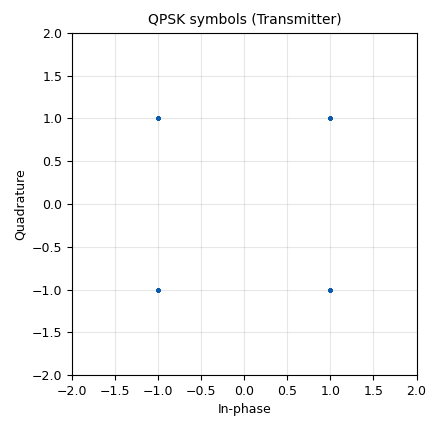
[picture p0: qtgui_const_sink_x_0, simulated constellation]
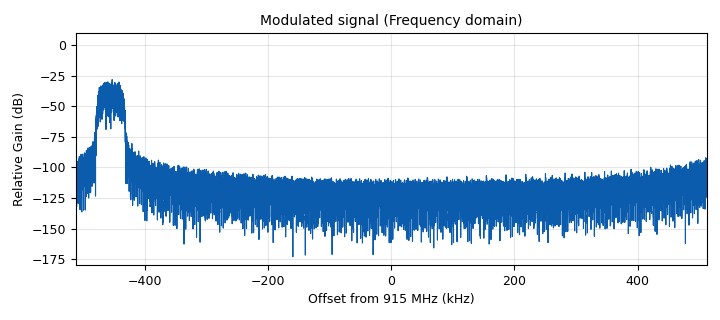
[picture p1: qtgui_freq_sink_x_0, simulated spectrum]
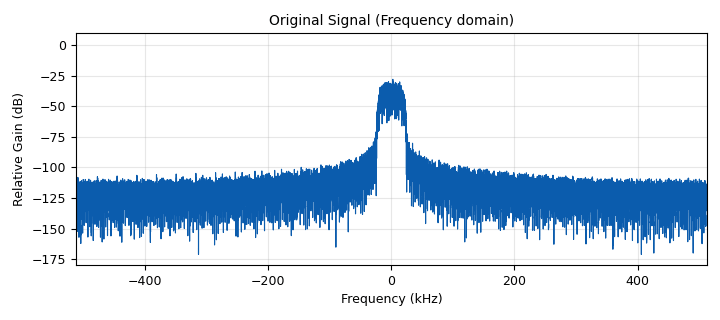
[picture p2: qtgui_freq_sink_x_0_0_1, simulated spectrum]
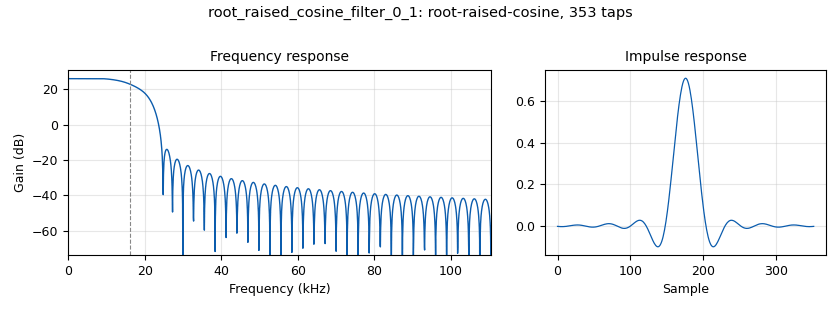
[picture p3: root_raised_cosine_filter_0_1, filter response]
options:
  parameters:
    author: native
    generate_options: qt_gui
    id: default
    output_language: python
    title: Not titled yet
  states: {}

blocks:
- name: fc
  id: variable
  parameters:
    value: 915e6
  states: {}
- name: qpsk
  id: variable
  parameters:
    value: '[-1-1j,-1+1j,1+1j,1-1j]'
  states: {}
- name: samp_rate
  id: variable
  parameters:
    value: 1.024e6
  states: {}
- name: tx_gain
  id: variable_qtgui_range
  parameters:
    start: '0'
    step: '1'
    stop: '90'
    value: '40'
  states: {}
- name: analog_random_source_x_0
  id: analog_random_source_x
  parameters:
    max: '4'
    min: '0'
    num_samps: '1000000'
    repeat: 'True'
    type: int
  states: {}
- name: analog_sig_source_x_0_1
  id: analog_sig_source_x
  parameters:
    amp: '1'
    freq: fc
    offset: '0'
    phase: '0'
    samp_rate: samp_rate
    type: complex
    waveform: analog.GR_COS_WAVE
  states: {}
- name: blocks_multiply_xx_0
  id: blocks_multiply_xx
  parameters:
    type: complex
  states: {}
- name: blocks_null_sink_0
  id: blocks_null_sink
  parameters:
    type: complex
  states: {state: disabled}
- name: digital_chunks_to_symbols_xx_0
  id: digital_chunks_to_symbols_xx
  parameters:
    dimension: '1'
    in_type: int
    out_type: complex
    symbol_table: qpsk
  states: {}
- name: qtgui_const_sink_x_0
  id: qtgui_const_sink_x
  parameters:
    grid: 'True'
    gui_hint: 1,0,2,2
    name: '"QPSK symbols (Transmitter)"'
    size: '1024'
    type: complex
  states: {}
- name: qtgui_freq_sink_x_0
  id: qtgui_freq_sink_x
  parameters:
    bw: samp_rate
    fc: fc
    fftsize: '32768'
    grid: 'True'
    gui_hint: 4,1,2,1
    name: '"Modulated signal (Frequency domain)"'
    type: complex
    ymin: '-180'
  states: {}
- name: qtgui_freq_sink_x_0_0_1
  id: qtgui_freq_sink_x
  parameters:
    bw: samp_rate
    fc: '0'
    fftsize: '32768'
    grid: 'True'
    gui_hint: 4,0,2,1
    name: '"Original Signal (Frequency domain)"'
    type: complex
    ymin: '-180'
  states: {}
- name: root_raised_cosine_filter_0_1
  id: root_raised_cosine_filter
  parameters:
    alpha: '0.5'
    gain: '20'
    interp: '32'
    ntaps: '352'
    samp_rate: samp_rate
    sym_rate: 32e3
    type: interp_fir_filter_ccf
  states: {}
- name: uhd_usrp_sink_0
  id: uhd_usrp_sink
  parameters:
    ant0: '"TX/RX"'
    center_freq0: fc
    gain0: tx_gain
    samp_rate: samp_rate
    sync: sync
    type: fc32
  states: {}

connections:
- [analog_random_source_x_0, '0', digital_chunks_to_symbols_xx_0, '0']
- [analog_sig_source_x_0_1, '0', blocks_multiply_xx_0, '1']
- [blocks_multiply_xx_0, '0', blocks_null_sink_0, '0']
- [blocks_multiply_xx_0, '0', qtgui_freq_sink_x_0, '0']
- [blocks_multiply_xx_0, '0', uhd_usrp_sink_0, '0']
- [digital_chunks_to_symbols_xx_0, '0', qtgui_const_sink_x_0, '0']
- [digital_chunks_to_symbols_xx_0, '0', root_raised_cosine_filter_0_1, '0']
- [root_raised_cosine_filter_0_1, '0', blocks_multiply_xx_0, '0']
- [root_raised_cosine_filter_0_1, '0', qtgui_freq_sink_x_0_0_1, '0']

metadata:
  file_format: 1
  grc_version: 3.10.9.2
